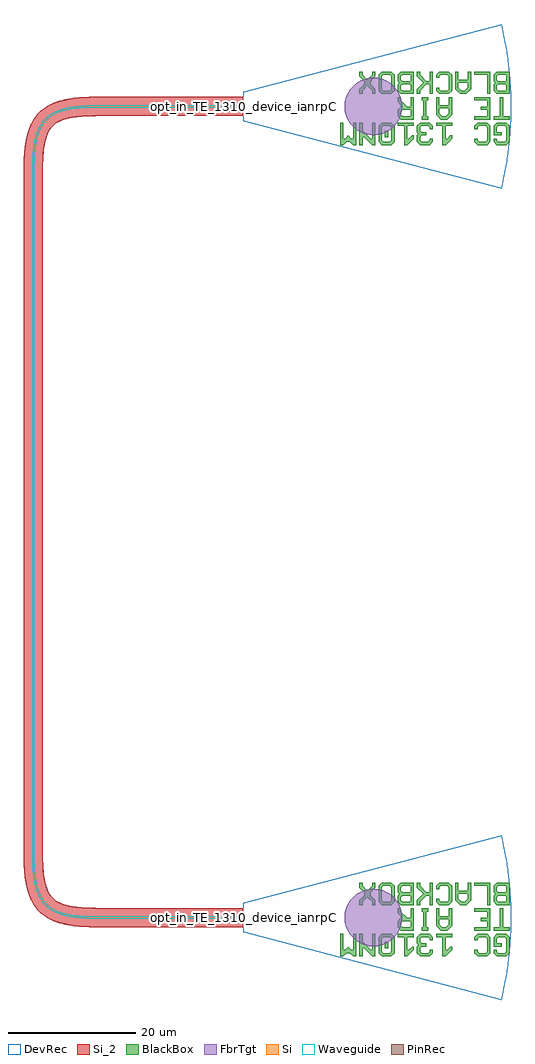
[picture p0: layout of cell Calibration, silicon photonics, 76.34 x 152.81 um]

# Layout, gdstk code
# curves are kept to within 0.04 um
from math import pi, radians
import gdstk
lib = gdstk.Library(unit=1e-6, precision=1e-09)
def R(c, l, rs):  # rectangles x0, y0, x1, y1
    for r in rs: c.add(gdstk.rectangle(r[:2], r[2:], *l))
def P(c, l, *ps):  # polygons
    for p in ps: c.add(gdstk.Polygon(p, *l))
Si = (1, 0)
Si_2 = (1, 2)
PinRec = (1, 10)
Waveguide = (1, 99)
DevRec = (68, 0)
FbrTgt = (81, 0)
BlackBox = (998, 0)

gc_air_te1310_bb = lib.new_cell('GC_Air_te1310_BB')
P(gc_air_te1310_bb, DevRec, [(-40.529,-12.904),(-41.209,-9.338),(-41.635,-6.364),(-41.899,-3.367),(-42.002,0),(-41.899,3.367),(-41.637,6.347),(-41.211,9.328),(-40.529,12.904),(0,2.317),(0,-2.317)])
P(gc_air_te1310_bb, FbrTgt, [(-20.621,-4.5),(-21.495,-4.37),(-22.326,-4.073),(-23.084,-3.619),(-23.738,-3.026),(-24.264,-2.316),(-24.642,-1.518),(-24.857,-0.661),(-24.9,0.221),(-24.77,1.095),(-24.473,1.926),(-24.019,2.684),(-23.426,3.338),(-22.716,3.864),(-21.918,4.242),(-21.061,4.457),(-20.179,4.5),(-19.305,4.37),(-18.474,4.073),(-17.716,3.619),(-17.062,3.026),(-16.536,2.316),(-16.158,1.518),(-15.943,0.661),(-15.9,-0.221),(-16.03,-1.095),(-16.327,-1.926),(-16.781,-2.684),(-17.374,-3.338),(-18.084,-3.864),(-18.882,-4.242),(-19.739,-4.457)])
R(gc_air_te1310_bb, BlackBox, [(-22.72,3.8,-22.22,4.8)])
P(gc_air_te1310_bb, BlackBox, [(-41.22,2.55),(-41.72,3.05),(-41.72,5.55),(-41.22,6.05),(-39.72,6.05),(-39.22,5.55),(-39.22,5.05),(-39.72,5.05),(-39.72,5.3),(-39.97,5.55),(-40.97,5.55),(-41.22,5.3),(-41.22,3.3),(-40.97,3.05),(-39.97,3.05),(-39.72,3.3),(-39.72,4.05),(-40.47,4.05),(-40.47,4.55),(-39.22,4.55),(-39.22,3.05),(-39.72,2.55)],
  [(-38.22,2.55),(-38.72,3.05),(-38.72,5.55),(-38.22,6.05),(-36.72,6.05),(-36.22,5.55),(-36.22,5.05),(-36.72,5.05),(-36.72,5.3),(-36.97,5.55),(-37.97,5.55),(-38.22,5.3),(-38.22,3.3),(-37.97,3.05),(-36.97,3.05),(-36.72,3.3),(-36.72,3.55),(-36.22,3.55),(-36.22,3.05),(-36.72,2.55)],
  [(-32.72,2.55),(-32.72,3.05),(-31.72,3.05),(-31.72,5.05),(-31.97,5.05),(-32.47,4.55),(-32.72,4.55),(-32.72,5.05),(-31.72,6.05),(-31.22,6.05),(-31.22,3.05),(-30.22,3.05),(-30.22,2.55)],
  [(-29.22,2.55),(-29.72,3.05),(-29.72,3.55),(-29.22,3.55),(-29.22,3.3),(-28.97,3.05),(-27.97,3.05),(-27.72,3.3),(-27.72,3.8),(-27.97,4.05),(-28.72,4.05),(-28.72,4.55),(-27.97,4.55),(-27.72,4.8),(-27.72,5.3),(-27.97,5.55),(-28.97,5.55),(-29.22,5.3),(-29.22,5.05),(-29.72,5.05),(-29.72,5.55),(-29.22,6.05),(-27.72,6.05),(-27.22,5.55),(-27.22,4.55),(-27.47,4.3),(-27.22,4.05),(-27.22,3.05),(-27.72,2.55)],
  [(-26.72,2.55),(-26.72,3.05),(-25.72,3.05),(-25.72,5.05),(-25.97,5.05),(-26.47,4.55),(-26.72,4.55),(-26.72,5.05),(-25.72,6.05),(-25.22,6.05),(-25.22,3.05),(-24.22,3.05),(-24.22,2.55)],
  [(-23.22,2.55),(-23.72,3.05),(-23.72,5.55),(-23.22,6.05),(-21.72,6.05),(-21.22,5.55),(-22.97,5.55),(-23.22,5.3),(-23.22,3.3),(-22.97,3.05),(-21.97,3.05),(-21.72,3.3),(-21.72,5.3),(-21.97,5.55),(-21.22,5.55),(-21.22,3.05),(-21.72,2.55)],
  [(-20.72,2.55),(-20.72,6.05),(-20.22,6.05),(-18.97,4.8),(-18.72,4.8),(-18.72,6.05),(-18.22,6.05),(-18.22,2.55),(-18.72,2.55),(-18.72,3.8),(-19.97,5.05),(-20.22,5.05),(-20.22,2.55)],
  [(-17.72,2.55),(-17.72,6.05),(-17.22,6.05),(-16.72,5.55),(-16.22,5.55),(-15.72,6.05),(-15.22,6.05),(-15.22,2.55),(-15.72,2.55),(-15.72,5.05),(-15.97,5.05),(-16.47,4.55),(-16.97,5.05),(-17.22,5.05),(-17.22,2.55)],
  [(-40.72,-1.45),(-40.72,1.55),(-41.72,1.55),(-41.72,2.05),(-39.22,2.05),(-39.22,1.55),(-40.22,1.55),(-40.22,-1.45)],
  [(-38.72,-1.45),(-38.72,2.05),(-36.22,2.05),(-36.22,1.55),(-38.22,1.55),(-38.22,0.55),(-37.22,0.55),(-37.22,0.05),(-38.22,0.05),(-38.22,-0.95),(-36.22,-0.95),(-36.22,-1.45)],
  [(-32.72,-1.45),(-32.72,1.3),(-31.97,2.05),(-30.97,2.05),(-30.47,1.55),(-31.72,1.55),(-32.22,1.05),(-32.22,0.3),(-30.72,0.3),(-30.72,1.05),(-31.22,1.55),(-30.47,1.55),(-30.22,1.3),(-30.22,-1.45),(-30.72,-1.45),(-30.72,-0.2),(-32.22,-0.2),(-32.22,-1.45)],
  [(-28.97,-1.45),(-28.97,-0.95),(-28.72,-0.95),(-28.72,1.55),(-28.97,1.55),(-28.97,2.05),(-27.97,2.05),(-27.97,1.55),(-28.22,1.55),(-28.22,-0.95),(-27.97,-0.95),(-27.97,-1.45)],
  [(-26.72,-1.45),(-26.72,2.05),(-24.72,2.05),(-24.22,1.55),(-26.22,1.55),(-26.22,0.55),(-24.97,0.55),(-24.72,0.8),(-24.72,1.3),(-24.97,1.55),(-24.22,1.55),(-24.22,0.55),(-24.72,0.05),(-24.72,-0.2),(-24.22,-0.7),(-24.22,-1.45),(-24.72,-1.45),(-24.72,-0.95),(-25.72,0.05),(-26.22,0.05),(-26.22,-1.45)],
  [(-41.72,-5.45),(-41.72,-1.95),(-39.72,-1.95),(-39.22,-2.45),(-41.22,-2.45),(-41.22,-3.45),(-39.97,-3.45),(-39.72,-3.2),(-39.72,-2.7),(-39.97,-2.45),(-39.22,-2.45),(-39.22,-3.45),(-39.47,-3.7),(-39.22,-3.95),(-41.22,-3.95),(-41.22,-4.95),(-39.97,-4.95),(-39.72,-4.7),(-39.72,-4.2),(-39.97,-3.95),(-39.22,-3.95),(-39.22,-4.95),(-39.72,-5.45)],
  [(-38.72,-5.45),(-38.72,-1.95),(-38.22,-1.95),(-38.22,-4.95),(-36.22,-4.95),(-36.22,-5.45)],
  [(-35.72,-5.45),(-35.72,-2.7),(-34.97,-1.95),(-33.97,-1.95),(-33.47,-2.45),(-34.72,-2.45),(-35.22,-2.95),(-35.22,-3.7),(-33.72,-3.7),(-33.72,-2.95),(-34.22,-2.45),(-33.47,-2.45),(-33.22,-2.7),(-33.22,-5.45),(-33.72,-5.45),(-33.72,-4.2),(-35.22,-4.2),(-35.22,-5.45)],
  [(-32.22,-5.45),(-32.72,-4.95),(-32.72,-2.45),(-32.22,-1.95),(-30.72,-1.95),(-30.22,-2.45),(-30.22,-2.95),(-30.72,-2.95),(-30.72,-2.7),(-30.97,-2.45),(-31.97,-2.45),(-32.22,-2.7),(-32.22,-4.7),(-31.97,-4.95),(-30.97,-4.95),(-30.72,-4.7),(-30.72,-4.45),(-30.22,-4.45),(-30.22,-4.95),(-30.72,-5.45)],
  [(-29.72,-5.45),(-29.72,-1.95),(-29.22,-1.95),(-29.22,-3.45),(-28.72,-3.45),(-27.72,-2.45),(-27.72,-1.95),(-27.22,-1.95),(-27.22,-2.7),(-28.22,-3.7),(-27.22,-4.7),(-27.22,-5.45),(-27.72,-5.45),(-27.72,-4.95),(-28.72,-3.95),(-29.22,-3.95),(-29.22,-5.45)],
  [(-26.72,-5.45),(-26.72,-1.95),(-24.72,-1.95),(-24.22,-2.45),(-26.22,-2.45),(-26.22,-3.45),(-24.97,-3.45),(-24.72,-3.2),(-24.72,-2.7),(-24.97,-2.45),(-24.22,-2.45),(-24.22,-3.45),(-24.47,-3.7),(-24.22,-3.95),(-26.22,-3.95),(-26.22,-4.95),(-24.97,-4.95),(-24.72,-4.7),(-24.72,-4.2),(-24.97,-3.95),(-24.22,-3.95),(-24.22,-4.95),(-24.72,-5.45)],
  [(-23.22,-5.45),(-23.72,-4.95),(-23.72,-2.45),(-23.22,-1.95),(-21.72,-1.95),(-21.22,-2.45),(-21.22,-3.7),(-21.72,-3.7),(-21.72,-2.7),(-21.97,-2.45),(-22.97,-2.45),(-23.22,-2.7),(-23.22,-4.7),(-22.97,-4.95),(-21.97,-4.95),(-21.72,-4.7),(-21.72,-3.7),(-21.22,-3.7),(-21.22,-4.95),(-21.72,-5.45)],
  [(-20.72,-5.45),(-20.72,-4.7),(-19.97,-3.95),(-19.97,-3.45),(-20.72,-2.7),(-20.72,-1.95),(-20.22,-1.95),(-20.22,-2.45),(-19.47,-3.2),(-18.72,-2.45),(-18.72,-1.95),(-18.22,-1.95),(-18.22,-2.7),(-18.97,-3.45),(-18.97,-3.95),(-18.22,-4.7),(-18.22,-5.45),(-18.72,-5.45),(-18.72,-4.95),(-19.47,-4.2),(-20.22,-4.95),(-20.22,-5.45)])
gc_air_te1310_bb.add(gdstk.FlexPath([(-0.01,0),(0.01,0)], 0.35, ends="flush", simple_path=True, layer=1, datatype=10))  # PinRec
gc_air_te1310_bb.add(gdstk.Label('pin1', (0,0), layer=1, texttype=10))
gc_air_te1310_bb.add(gdstk.Label('Lumerical_INTERCONNECT_library=Design kits/SiEPICfab_EBeam_ZEP', (-34.01,1.61), layer=68, texttype=0))
gc_air_te1310_bb.add(gdstk.Label('Component=GC_Air_te1310_BB', (-34.01,0), layer=68, texttype=0))

waveguide_9 = lib.new_cell('Waveguide$9')
P(waveguide_9, Si, [(524.48,266.155),(521.641,266.266),(519.765,266.538),(518.948,266.746),(518.207,267.007),(517.54,267.325),(516.943,267.704),(516.416,268.147),(515.957,268.657),(515.562,269.236),(515.23,269.886),(514.955,270.607),(514.687,271.616),(514.415,273.492),(514.305,276.33),(514.305,383.33),(514.375,385.646),(514.603,387.606),(514.896,388.862),(515.231,389.775),(515.752,390.724),(516.297,391.394),(517.087,392.059),(517.866,392.503),(518.949,392.915),(520.205,393.208),(521.902,393.416),(523.867,393.501),(547.32,393.505),(547.32,393.155),(523.871,393.151),(521.928,393.068),(520.265,392.864),(519.049,392.579),(518.176,392.26),(517.285,391.769),(516.661,391.262),(516.136,390.659),(515.624,389.795),(515.232,388.762),(514.947,387.546),(514.743,385.883),(514.655,383.33),(514.655,276.33),(514.763,273.524),(514.91,272.336),(515.124,271.284),(515.413,270.361),(515.864,269.414),(516.334,268.747),(516.896,268.185),(517.71,267.631),(518.51,267.264),(519.633,266.926),(520.712,266.726),(522.453,266.558),(524.172,266.507),(547.32,266.505),(547.32,266.155)])
P(waveguide_9, Si_2, [(524.48,264.83),(521.799,264.923),(519.489,265.242),(518.569,265.477),(517.704,265.782),(516.9,266.165),(516.159,266.636),(515.654,267.046),(515.051,267.671),(514.536,268.376),(514.109,269.149),(513.695,270.196),(513.444,271.104),(513.095,273.372),(512.98,276.33),(512.98,383.33),(513.053,385.736),(513.298,387.836),(513.627,389.241),(514.11,390.512),(514.658,391.47),(515.344,392.314),(516.16,393.025),(517.095,393.6),(518.346,394.115),(519.49,394.419),(521.522,394.715),(523.849,394.826),(547.32,394.83),(547.32,391.83),(523.889,391.826),(521.794,391.727),(519.934,391.444),(519.128,391.212),(518.467,390.932),(517.936,390.607),(517.424,390.146),(517.071,389.681),(516.706,388.966),(516.453,388.216),(516.252,387.316),(516.047,385.532),(515.98,383.33),(515.98,276.33),(516.083,273.644),(516.218,272.544),(516.408,271.611),(516.651,270.831),(517.005,270.088),(517.423,269.515),(517.935,269.054),(518.582,268.672),(519.275,268.398),(520.301,268.138),(521.333,267.981),(522.787,267.867),(524.48,267.83),(547.32,267.83),(547.32,264.83)])
P(waveguide_9, Waveguide, [(524.48,266.155),(521.641,266.266),(519.765,266.538),(518.948,266.746),(518.207,267.007),(517.54,267.325),(516.943,267.704),(516.416,268.147),(515.957,268.657),(515.562,269.236),(515.23,269.886),(514.955,270.607),(514.687,271.616),(514.415,273.492),(514.305,276.33),(514.305,383.33),(514.375,385.646),(514.603,387.606),(514.896,388.862),(515.231,389.775),(515.752,390.724),(516.297,391.394),(517.087,392.059),(517.866,392.503),(518.949,392.915),(520.205,393.208),(521.902,393.416),(523.867,393.501),(547.32,393.505),(547.32,393.155),(523.871,393.151),(521.928,393.068),(520.265,392.864),(519.049,392.579),(518.176,392.26),(517.285,391.769),(516.661,391.262),(516.136,390.659),(515.624,389.795),(515.232,388.762),(514.947,387.546),(514.743,385.883),(514.655,383.33),(514.655,276.33),(514.763,273.524),(514.91,272.336),(515.124,271.284),(515.413,270.361),(515.864,269.414),(516.334,268.747),(516.896,268.185),(517.71,267.631),(518.51,267.264),(519.633,266.926),(520.712,266.726),(522.453,266.558),(524.172,266.507),(547.32,266.505),(547.32,266.155)])
P(waveguide_9, DevRec, [(524.479,264.83),(521.731,264.929),(519.375,265.267),(517.991,265.669),(517.352,265.936),(516.184,266.619),(515.188,267.513),(514.767,268.035),(514.085,269.203),(513.818,269.842),(513.416,271.226),(513.078,273.582),(512.98,276.33),(512.98,383.33),(513.079,386.079),(513.273,387.689),(513.598,389.145),(514.086,390.458),(514.4,391.062),(515.189,392.148),(515.663,392.622),(516.748,393.41),(517.992,393.992),(519.376,394.394),(520.905,394.65),(523.516,394.821),(547.32,394.83),(547.32,391.83),(523.582,391.821),(521.265,391.672),(520.028,391.466),(518.621,391.007),(517.945,390.613),(517.421,390.144),(516.992,389.55),(516.633,388.777),(516.233,387.195),(516.069,385.837),(515.98,383.33),(515.98,276.33),(516.018,274.598),(516.138,273.115),(516.479,271.352),(516.992,270.11),(517.42,269.517),(517.944,269.047),(518.62,268.654),(519.501,268.33),(521.264,267.989),(522.747,267.869),(524.481,267.83),(547.32,267.83),(547.32,264.83)])
waveguide_9.add(gdstk.FlexPath([(547.31,393.33),(547.33,393.33)], 0.35, ends="flush", simple_path=True, layer=1, datatype=10))  # PinRec
waveguide_9.add(gdstk.FlexPath([(547.31,266.33),(547.33,266.33)], 0.35, ends="flush", simple_path=True, layer=1, datatype=10))  # PinRec
waveguide_9.add(gdstk.Label('opt1', (547.32,393.33), layer=1, texttype=10))
waveguide_9.add(gdstk.Label('opt2', (547.32,266.33), layer=1, texttype=10))
waveguide_9.add(gdstk.Label('Lumerical_INTERCONNECT_library=Design kits/SiEPICfab_EBeam_ZEP', (547.32,393.26), layer=68, texttype=0))
waveguide_9.add(gdstk.Label('Component=wg_strip_integral_te1310_air', (547.32,393.4), layer=68, texttype=0))
waveguide_9.add(gdstk.Label('cellName=Waveguide', (547.32,393.47), layer=68, texttype=0))
waveguide_9.add(gdstk.Label('Spice_param:wg_length=0.000186493 wg_width=3.5e-07 points="[[547.32,393.33],[514.48,393.33],[514.48,266.33],[547.32,266.33]]" radius=1e-05', (547.32,393.33), layer=68, texttype=0))
waveguide_9.add(gdstk.Label('Length=186.493 (microns)', (547.32,392.91), layer=68, texttype=0))
waveguide_9.add(gdstk.Label('waveguide_type=Strip TE 1310nm, w=350 nm (air clad)', (547.32,393.19), layer=68, texttype=0))

calibration = lib.new_cell('Calibration')
r = gdstk.Reference(gc_air_te1310_bb, (34.34,139.904), rotation=pi); r.repetition = gdstk.Repetition(1, 2, v1=(0,0), v2=(0,-127)); calibration.add(r)
calibration.add(gdstk.Reference(waveguide_9, (-512.98,-253.426)))
calibration.add(gdstk.Label('opt_in_TE_1310_device_ianrpChip2Cal23', (34.35,139.914), layer=10, texttype=0))
calibration.add(gdstk.Label('opt_in_TE_1310_device_ianrpChip2Cal21', (34.35,12.894), layer=10, texttype=0))

lib.write_gds('Calibration.gds')
